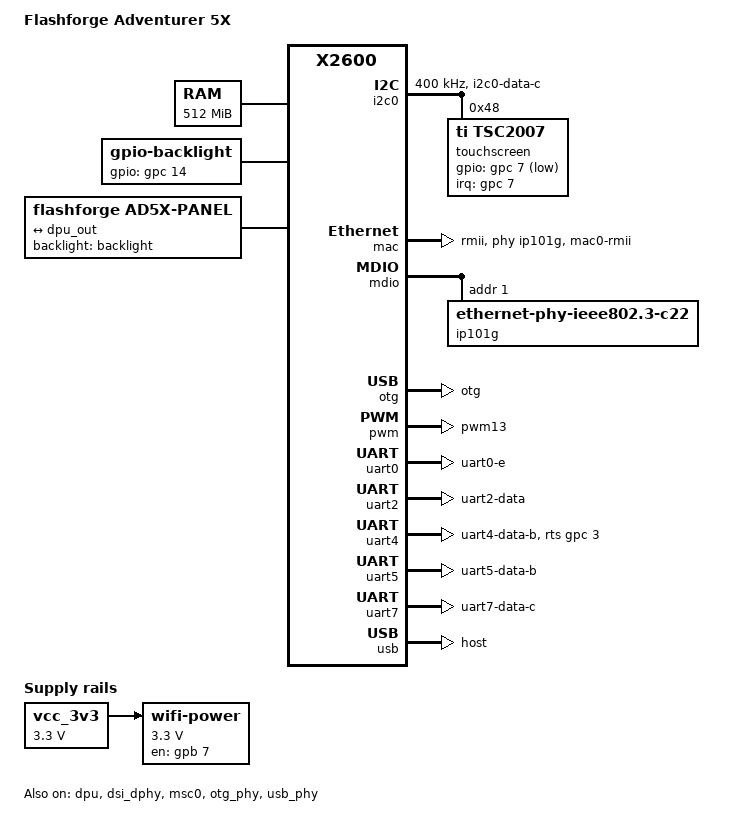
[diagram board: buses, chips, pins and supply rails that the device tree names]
// SPDX-License-Identifier: GPL-2.0
/dts-v1/;

#include "x2600.dtsi"
#include <dt-bindings/gpio/gpio.h>
#include <dt-bindings/interrupt-controller/irq.h>

/ {
	compatible = "flashforge,ad5x", "ingenic,x2600";
	model = "Flashforge Adventurer 5X";

	aliases {
		mmc0 = &msc0;
		serial0 = &uart0;
		serial2 = &uart2;
		serial4 = &uart4;
		serial5 = &uart5;
		serial7 = &uart7;
	};

	chosen {
		stdout-path = "serial0:115200n8";
	};

	memory@0 {
		device_type = "memory";
		reg = <0x00000000 0x10000000>,
		      <0x30000000 0x10000000>;
	};

	backlight: backlight {
		compatible = "gpio-backlight";
		gpios = <&gpc 14 GPIO_ACTIVE_HIGH>;
	};

	panel {
		compatible = "flashforge,ad5x-panel", "panel-lvds";
		backlight = <&backlight>;

		data-mapping = "vesa-24";
		width-mm = <108>;
		height-mm = <64>;

		panel-timing {
			clock-frequency = <31000000>;
			hactive = <800>;
			vactive = <480>;
			hfront-porch = <40>;
			hback-porch = <88>;
			hsync-len = <48>;
			vfront-porch = <13>;
			vback-porch = <35>;
			vsync-len = <3>;
		};

		port {
			panel_in: endpoint {
				remote-endpoint = <&dpu_out>;
			};
		};
	};

	reserved-memory {
		#address-cells = <1>;
		#size-cells = <1>;
		ranges;

		/* Kept by the stock firmware for its media drivers ("rmem") */
		media@ec00000 {
			reg = <0x0ec00000 0x01000000>;
			no-map;
		};

		/* Firmware of the SoC's RISC-V core ("rtos_size") */
		rtos@fc00000 {
			reg = <0x0fc00000 0x00400000>;
			no-map;
		};
	};

	vcc_3v3: regulator-3v3 {
		compatible = "regulator-fixed";
		regulator-name = "vcc-3v3";
		regulator-min-microvolt = <3300000>;
		regulator-max-microvolt = <3300000>;
		regulator-always-on;
	};

	/* The RTL8821CU Wi-Fi module, behind the USB hub */
	regulator-wifi {
		compatible = "regulator-fixed";
		regulator-name = "wifi-power";
		regulator-min-microvolt = <3300000>;
		regulator-max-microvolt = <3300000>;
		gpio = <&gpb 7 GPIO_ACTIVE_HIGH>;
		enable-active-high;
		regulator-always-on;
		vin-supply = <&vcc_3v3>;
	};
};

&dpu {
	/*
	 * The panel's 31 MHz pixel clock from the EPLL at 434 MHz, as the
	 * stock firmware sets it: nothing else may have set it up yet
	 */
	assigned-clocks = <&cgu X2600_CLK_EPLL>, <&cgu X2600_CLK_LCD>;
	assigned-clock-parents = <0>, <&cgu X2600_CLK_EPLL>;
	assigned-clock-rates = <434000000>, <31000000>;

	phys = <&dsi_dphy>;
	phy-names = "lvds";

	status = "okay";

	port {
		dpu_out: endpoint {
			remote-endpoint = <&panel_in>;
		};
	};
};

&dsi_dphy {
	status = "okay";
};

&exclk {
	clock-frequency = <24000000>;
};

&i2c0 {
	pinctrl-names = "default";
	pinctrl-0 = <&pins_i2c0>;

	clock-frequency = <400000>;

	status = "okay";

	/* The display's resistive touchscreen */
	touchscreen@48 {
		compatible = "ti,tsc2007";
		reg = <0x48>;

		interrupt-parent = <&gpc>;
		interrupts = <7 IRQ_TYPE_EDGE_FALLING>;
		gpios = <&gpc 7 GPIO_ACTIVE_LOW>;

		ti,x-plate-ohms = <660>;
		ti,max-rt = <600>;
	};
};

&mac {
	pinctrl-names = "default";
	pinctrl-0 = <&pins_mac>;

	phy-mode = "rmii";
	phy-handle = <&ip101g>;

	status = "okay";
};

&mdio {
	status = "okay";

	ip101g: ethernet-phy@1 {
		compatible = "ethernet-phy-ieee802.3-c22";
		reg = <1>;
	};
};

/* eMMC */
&msc0 {
	pinctrl-names = "default";
	pinctrl-0 = <&pins_mmc0>;

	bus-width = <8>;
	max-frequency = <150000000>;
	non-removable;
	no-sd;
	no-sdio;

	status = "okay";
};

/* OTG port: not on the display's USB ports; set up as the stock firmware does */
&otg {
	dr_mode = "otg";

	status = "okay";
};

&otg_phy {
	vcc-supply = <&vcc_3v3>;
	ingenic,external-vbus-detect;

	status = "okay";
};

&pinctrl {
	pins_i2c0: i2c0 {
		function = "i2c0";
		groups = "i2c0-data-c";
	};

	pins_mac: mac {
		function = "mac0";
		groups = "mac0-rmii";
	};

	pins_mmc0: mmc0 {
		function = "mmc0";
		groups = "mmc0-4bit", "mmc0-8bit";
	};

	pins_pwm13: pwm13 {
		function = "pwm13";
		groups = "pwm13";
	};

	pins_uart0: uart0 {
		function = "uart0";
		groups = "uart0-e";
	};

	pins_uart2: uart2 {
		function = "uart2";
		groups = "uart2-data";
	};

	pins_uart4: uart4 {
		function = "uart4";
		groups = "uart4-data-b";
	};

	pins_uart5: uart5 {
		function = "uart5";
		groups = "uart5-data-b";
	};

	pins_uart7: uart7 {
		function = "uart7";
		groups = "uart7-data-c";
	};
};

/* Debug console */
/* Speaker: a piezo on PC12 */
&pwm {
	pinctrl-names = "default";
	pinctrl-0 = <&pins_pwm13>;

	status = "okay";
};

&uart0 {
	pinctrl-names = "default";
	pinctrl-0 = <&pins_uart0>;

	status = "okay";
};

/* Motion controller (Klipper MCU) */
&uart2 {
	pinctrl-names = "default";
	pinctrl-0 = <&pins_uart2>;

	status = "okay";
};

/*
 * Filament changer (IFS): half-duplex RS-485, driver enable on PC3. The
 * transceiver does not echo what it sends, and the IFS answers within a
 * frame: keep receiving while sending, so that its reply is not flushed
 * with the receive FIFO when the driver enable drops.
 */
&uart4 {
	pinctrl-names = "default";
	pinctrl-0 = <&pins_uart4>;

	rts-gpios = <&gpc 3 GPIO_ACTIVE_HIGH>;
	linux,rs485-enabled-at-boot-time;
	rs485-rx-during-tx;

	status = "okay";
};

/* Toolhead board (eboard, Klipper MCU) */
&uart5 {
	pinctrl-names = "default";
	pinctrl-0 = <&pins_uart5>;

	status = "okay";
};

/* Bed weighing board */
&uart7 {
	pinctrl-names = "default";
	pinctrl-0 = <&pins_uart7>;

	status = "okay";
};

/* Host port: an internal USB hub with the camera and the Wi-Fi module */
&usb {
	dr_mode = "host";
	disable-over-current;

	status = "okay";
};

&usb_phy {
	vcc-supply = <&vcc_3v3>;

	status = "okay";
};
